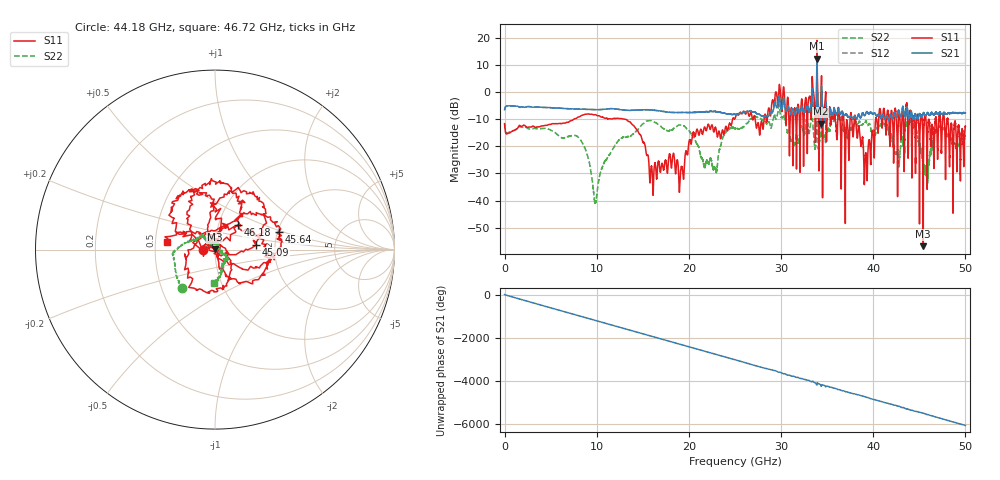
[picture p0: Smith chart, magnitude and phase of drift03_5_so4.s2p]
!Created with skrf (http://scikit-rf.org).
# Hz S RI R 50.0
!freq ReS11 ImS11 ReS21 ImS21 ReS12 ImS12 ReS22 ImS22
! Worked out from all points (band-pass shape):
!   10001 points, 300 kHz to 50 GHz, reference 50 ohm
!   highest |S21| = 12.38 dB at 33.9 GHz (marker M1); lowest = -11.6 dB at 34.32 GHz (marker M2)
!   |S21| within 3 dB of the highest: 33.88998 GHz to 33.90674 GHz (16.75 MHz wide, 0.0494 % of centre)
!   lowest |S11| = -56.8 dB at 45.43 GHz (marker M3), VSWR 1.00, Z = 49.9 + j0.135 ohm
!   |S11| at or under -10 dB: start of sweep to 7.487 GHz; 13.13 GHz to 24.74 GHz (11.61 GHz wide, 61.3 % of centre); 38.08 GHz to 40.26 GHz (2.175 GHz wide, 5.55 % of centre) (the widest 3 of 53)
!   |S22| runs from -41.1 to 4.7 dB; largest |S21 - S12| = 0.33
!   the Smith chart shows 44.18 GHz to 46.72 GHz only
!   S11 on the Smith chart (normalised r, x): 44.18 GHz: 0.88, -0.01; 45.09 GHz: 1.59, +0.09; 45.64 GHz: 2.03, +0.47; 46.18 GHz: 1.23, +0.34; 46.72 GHz: 0.57, +0.05
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300000  -0.2383 -0.1117  0.4673 0.0751  0.4643 0.0747  -0.2331 -0.1218
1.440291e9  0.2102 0.0647  -0.5479 -0.0292  -0.5482 -0.029  0.211 -0.00441
2.915283e9  -0.2118 -0.088  0.5342 0.0513  0.5346 0.0509  -0.2028 0.0399
4.415274e9  0.2066 0.132  -0.5218 -0.0417  -0.5222 -0.0415  0.1974 -0.0873
8.33525e9  0.2889 -0.2339  0.1469 0.4657  0.1472 0.4659  -0.0735 -0.1002
9.855241e9  -0.3611 0.1349  -0.1581 -0.4491  -0.1581 -0.4489  0.00905 0.00247
1.66702e10  0.0278 0.045  -0.3782 0.2547  -0.3782 0.2547  -0.1261 -0.2181
2.500015e10  -0.3273 -0.0132  -0.2563 -0.2949  -0.2547 -0.2965  -0.2138 0.0256
2.895013e10  -0.3181 0.423  -0.2904 0.3255  -0.3027 0.2896  0.0613 0.2188
3.006512e10  0.3959 0.2586  0.4473 -0.1987  0.4512 -0.1862  0.1713 -0.2978
3.171011e10  -0.0885 0.1857  -0.36 0.3579  -0.3581 0.36  0.0655 0.1572
3.33351e10  0.5854 -0.7917  0.2428 -0.8236  0.2388 -0.8049  -0.1924 -0.409
3.38951e10  -2.753 -8.615  -4.059 0.9138  -3.777 1.081  0.5368 1.634
3.432009e10  -0.778 0.00539  -0.1803 0.1929  -0.2403 0.175  0.1435 -0.0675
4.167005e10  -0.1907 0.3005  0.3101 0.00583  0.311 0.0111  -0.1915 -0.0114
4.418003e10  -0.065 -0.00385  0.2226 0.3274  0.2229 0.329  -0.1837 -0.2157
4.508503e10  0.2279 0.0259  0.2735 -0.2667  0.2744 -0.2689  -0.0657 0.0722
4.543003e10  -0.000506 0.00135  -0.0242 -0.4158  -0.0182 -0.4123  -0.0299 0.0339
4.563503e10  0.3545 0.0998  -0.1471 -0.3447  -0.1479 -0.3497  0.00543 0.0378
4.618002e10  0.1257 0.135  -0.3802 0.0319  -0.3786 0.0295  0.0669 -0.0449
4.672002e10  -0.2692 0.0426  -0.1178 0.3914  -0.117 0.3911  -0.00421 -0.1864
5e10  -0.1257 -0.1977  0.1509 0.3859  0.1506 0.3833  -0.0563 -0.1461
